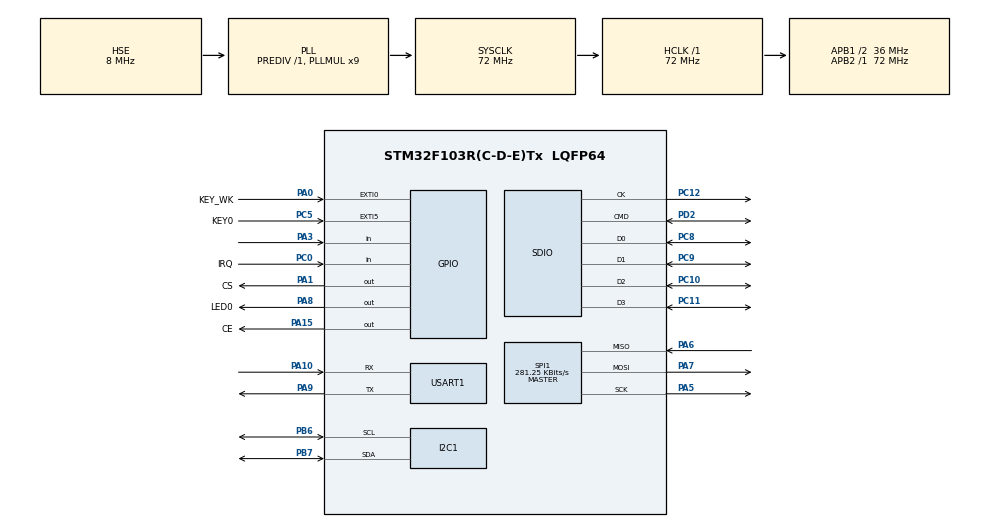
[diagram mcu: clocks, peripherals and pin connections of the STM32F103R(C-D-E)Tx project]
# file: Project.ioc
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Dma.Request0=USART1_RX
Dma.Request1=USART1_TX
Dma.Request2=SDIO
Dma.SDIO.2.Direction=DMA_PERIPH_TO_MEMORY
Dma.SDIO.2.Instance=DMA2_Channel4
Dma.SDIO.2.MemDataAlignment=DMA_MDATAALIGN_WORD
Dma.SDIO.2.MemInc=DMA_MINC_ENABLE
Dma.SDIO.2.Mode=DMA_NORMAL
Dma.SDIO.2.PeriphDataAlignment=DMA_PDATAALIGN_WORD
Dma.SDIO.2.PeriphInc=DMA_PINC_DISABLE
Dma.SDIO.2.Priority=DMA_PRIORITY_VERY_HIGH
Dma.USART1_RX.0.Direction=DMA_PERIPH_TO_MEMORY
Dma.USART1_RX.0.Instance=DMA1_Channel5
Dma.USART1_RX.0.MemDataAlignment=DMA_MDATAALIGN_BYTE
Dma.USART1_RX.0.MemInc=DMA_MINC_ENABLE
Dma.USART1_RX.0.Mode=DMA_NORMAL
Dma.USART1_RX.0.PeriphDataAlignment=DMA_PDATAALIGN_BYTE
Dma.USART1_RX.0.PeriphInc=DMA_PINC_DISABLE
Dma.USART1_RX.0.Priority=DMA_PRIORITY_LOW
Dma.USART1_TX.1.Direction=DMA_MEMORY_TO_PERIPH
Dma.USART1_TX.1.Instance=DMA1_Channel4
Dma.USART1_TX.1.MemDataAlignment=DMA_MDATAALIGN_BYTE
Dma.USART1_TX.1.MemInc=DMA_MINC_ENABLE
Dma.USART1_TX.1.Mode=DMA_NORMAL
Dma.USART1_TX.1.PeriphDataAlignment=DMA_PDATAALIGN_BYTE
Dma.USART1_TX.1.PeriphInc=DMA_PINC_DISABLE
Dma.USART1_TX.1.Priority=DMA_PRIORITY_LOW
FATFS.BSP.number=1
FATFS0.BSP.STBoard=false
FATFS0.BSP.api=Unknown
FATFS0.BSP.instance=PA3
FATFS0.BSP.ip=GPIO
FATFS0.BSP.mode=Input
FATFS0.BSP.name=Detect_SDIO
FATFS0.BSP.solution=PA3
Mcu.Family=STM32F1
Mcu.Name=STM32F103R(C-D-E)Tx
Mcu.Package=LQFP64
NVIC.DMA1_Channel4_IRQn=true\:0\:0\:false\:false\:true\:false\:true\:true
NVIC.DMA1_Channel5_IRQn=true\:0\:0\:false\:false\:true\:false\:true\:true
NVIC.DMA2_Channel4_5_IRQn=true\:0\:0\:false\:false\:true\:false\:true\:true
NVIC.EXTI0_IRQn=true\:1\:0\:true\:false\:true\:true\:true\:true
NVIC.EXTI9_5_IRQn=true\:1\:1\:true\:false\:true\:true\:true\:true
NVIC.I2C1_ER_IRQn=true\:0\:0\:false\:false\:true\:true\:true\:true
NVIC.I2C1_EV_IRQn=true\:0\:0\:false\:false\:true\:true\:true\:true
NVIC.PriorityGroup=NVIC_PRIORITYGROUP_2
NVIC.RTC_IRQn=true\:0\:0\:false\:false\:true\:true\:true\:true
NVIC.SDIO_IRQn=true\:0\:0\:false\:false\:true\:true\:true\:true
NVIC.TIM3_IRQn=true\:0\:0\:true\:false\:true\:true\:true\:true
NVIC.USART1_IRQn=true\:0\:0\:false\:false\:true\:true\:true\:true
PA0-WKUP.GPIO_Label=KEY_WK
PA0-WKUP.GPIO_PuPd=GPIO_PULLDOWN
PA0-WKUP.Signal=GPXTI0
PA1.GPIO_Label=CS
PA1.GPIO_Speed=GPIO_SPEED_FREQ_HIGH
PA1.PinState=GPIO_PIN_SET
PA1.Signal=GPIO_Output
PA10.Mode=Asynchronous
PA10.Signal=USART1_RX
PA13.Mode=Serial_Wire
PA13.Signal=SYS_JTMS-SWDIO
PA14.Mode=Serial_Wire
PA14.Signal=SYS_JTCK-SWCLK
PA15.GPIO_Label=CE
PA15.GPIO_Speed=GPIO_SPEED_FREQ_HIGH
PA15.PinState=GPIO_PIN_SET
PA15.Signal=GPIO_Output
PA3.Signal=GPIO_Input
PA5.Mode=Full_Duplex_Master
PA5.Signal=SPI1_SCK
PA6.Mode=Full_Duplex_Master
PA6.Signal=SPI1_MISO
PA7.Mode=Full_Duplex_Master
PA7.Signal=SPI1_MOSI
PA8.GPIO_Label=LED0
PA8.GPIO_ModeDefaultOutputPP=GPIO_MODE_OUTPUT_PP
PA8.GPIO_PuPd=GPIO_NOPULL
PA8.Signal=GPIO_Output
PA9.Mode=Asynchronous
PA9.Signal=USART1_TX
PB6.Mode=I2C
PB6.Signal=I2C1_SCL
PB7.Mode=I2C
PB7.Signal=I2C1_SDA
PC0.GPIO_Label=IRQ
PC0.GPIO_PuPd=GPIO_PULLUP
PC0.Signal=GPIO_Input
PC10.Mode=SD_4_bits_Wide_bus
PC10.Signal=SDIO_D2
PC11.Mode=SD_4_bits_Wide_bus
PC11.Signal=SDIO_D3
PC12.Mode=SD_4_bits_Wide_bus
PC12.Signal=SDIO_CK
PC14-OSC32_IN.Mode=LSE-External-Oscillator
PC14-OSC32_IN.Signal=RCC_OSC32_IN
PC15-OSC32_OUT.Mode=LSE-External-Oscillator
PC15-OSC32_OUT.Signal=RCC_OSC32_OUT
PC5.GPIO_Label=KEY0
PC5.GPIO_PuPd=GPIO_PULLUP
PC5.Signal=GPXTI5
PC8.Mode=SD_4_bits_Wide_bus
PC8.Signal=SDIO_D0
PC9.Mode=SD_4_bits_Wide_bus
PC9.Signal=SDIO_D1
PD0-OSC_IN.Mode=HSE-External-Oscillator
PD0-OSC_IN.Signal=RCC_OSC_IN
PD1-OSC_OUT.Mode=HSE-External-Oscillator
PD1-OSC_OUT.Signal=RCC_OSC_OUT
PD2.Mode=SD_4_bits_Wide_bus
PD2.Signal=SDIO_CMD
ProjectManager.HeapSize=0x400
ProjectManager.StackSize=0x3000
ProjectManager.TargetToolchain=STM32CubeIDE
RCC.AHBFreq_Value=72000000
RCC.APB1CLKDivider=RCC_HCLK_DIV2
RCC.APB1Freq_Value=36000000
RCC.APB1TimFreq_Value=72000000
RCC.APB2Freq_Value=72000000
RCC.APB2TimFreq_Value=72000000
RCC.HCLKFreq_Value=72000000
RCC.PLLMUL=RCC_PLL_MUL9
RCC.PLLSourceVirtual=RCC_PLLSOURCE_HSE
RCC.RTCClockSelection=RCC_RTCCLKSOURCE_LSE
RCC.SYSCLKFreq_VALUE=72000000
RCC.SYSCLKSource=RCC_SYSCLKSOURCE_PLLCLK
RCC.USBFreq_Value=72000000
RTC.Date=21
RTC.Hours=0
RTC.Minutes=0
RTC.Month=RTC_MONTH_DECEMBER
RTC.WeekDay=RTC_WEEKDAY_FRIDAY
SDIO.ClockDiv=36
SPI1.BaudRatePrescaler=SPI_BAUDRATEPRESCALER_256
SPI1.CLKPhase=SPI_PHASE_2EDGE
SPI1.CLKPolarity=SPI_POLARITY_HIGH
SPI1.CRCCalculation=SPI_CRCCALCULATION_DISABLE
SPI1.CalculateBaudRate=281.25 KBits/s
SPI1.Direction=SPI_DIRECTION_2LINES
SPI1.Mode=SPI_MODE_MASTER
SPI1.VirtualType=VM_MASTER
TIM3.Period=9
TIM3.Prescaler=7199
USART1.VirtualMode=VM_ASYNC
VP_FATFS_VS_SDIO.Mode=SDIO
VP_RTC_No_RTC_Output.Mode=RTC_OUT_NO
VP_RTC_VS_RTC_Activate.Mode=RTC_Enabled
VP_RTC_VS_RTC_Calendar.Mode=RTC_Calendar
VP_TIM3_VS_ClockSourceINT.Mode=Internal
board=custom

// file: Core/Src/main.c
/* USER CODE BEGIN Header */
/**
 ******************************************************************************
 * @file           : main.cpp
 * @brief          : Main program body
 ******************************************************************************
 * @attention
 *
 * Copyright (c) 2023 STMicroelectronics.
 * All rights reserved.
 *
 * This software is licensed under terms that can be found in the LICENSE file
 * in the root directory of this software component.
 * If no LICENSE file comes with this software, it is provided AS-IS.
 *
 ******************************************************************************
 */
/* USER CODE END Header */
#include "main.h"
#include "fatfs.h"

/* USER CODE BEGIN Includes */
#include <stdint.h>

#include <cstdint>
#include <cstdio>
#include <string>
#include <utility>

#include "24l01.h"
#include "framework.h"
#include "led.h"
#include "mmc_sd.h"
#include "piclib.h"
#include "scene.h"

/* USER CODE END Includes */

/* USER CODE BEGIN PD */
#define MAIN 1
#define CALC 2
#define CHAT_SELECT 3
#define CHAT_SCENE 4
#define PHOTO 5
/* USER CODE END PD */

I2C_HandleTypeDef hi2c1;

RTC_HandleTypeDef hrtc;

SD_HandleTypeDef hsd;
DMA_HandleTypeDef hdma_sdio;

SPI_HandleTypeDef hspi1;

TIM_HandleTypeDef htim3;

UART_HandleTypeDef huart1;
DMA_HandleTypeDef hdma_usart1_rx;
DMA_HandleTypeDef hdma_usart1_tx;

void SystemClock_Config(void);
static void MX_GPIO_Init(void);
static void MX_DMA_Init(void);
static void MX_USART1_UART_Init(void);
static void MX_I2C1_Init(void);
static void MX_TIM3_Init(void);
static void MX_SDIO_SD_Init(void);
static void MX_SPI1_Init(void);
static void MX_RTC_Init(void);

/* USER CODE BEGIN 0 */
string RX_DATA;
char uLength = 0;
extern unsigned char rxBuffer[1024];
extern bool rx_flag;
pii touch;
bool button_click[8];
// LED leddev = LED();  // led_dev
char *tmp = new char[1];
vtext *choosed;
uint8_t EVENT[10];
bool fly = false;
string users[3];
chat_scene_storage* chat_sc_store[3];
int selected_chat;
int SCENE = MAIN;
/* USER CODE END 0 */

int main(void)
{

  /* MCU Configuration--------------------------------------------------------*/

  /* Reset of all peripherals, Initializes the Flash interface and the Systick. */
  HAL_Init();

  /* USER CODE BEGIN Init */
    NRF24L01_Init();
  /* USER CODE END Init */

  /* Configure the system clock */
  SystemClock_Config();

  /* USER CODE BEGIN SysInit */
    delay_ms(100);
    // MX_I2C1_Init();

  /* USER CODE END SysInit */

  /* Initialize all configured peripherals */
  MX_GPIO_Init();
  MX_DMA_Init();
  MX_USART1_UART_Init();
  MX_I2C1_Init();
  MX_TIM3_Init();
  MX_SDIO_SD_Init();
  MX_FATFS_Init();
  MX_SPI1_Init();
  MX_RTC_Init();
  /* USER CODE BEGIN 2 */
    //   printf("LCD shape %u %u", lcddev.height, lcddev.width);
    // leddev.Init();
    LCD_Init();
    LCD_Clear(WHITE);
    HAL_TIM_Base_Start_IT(&htim3);

    tp_dev.init();
    // leddev.append(BLINK_BOTH);
    // leddev.append(BLINK_BOTH);

  /* USER CODE END 2 */

  /* Infinite loop */
  /* USER CODE BEGIN WHILE */
    dpo canvas = dpo("canvas", {lcddev.width / 2, lcddev.height / 2},
                     {lcddev.width, lcddev.height});
    printf("here");

    printf("Done Creating\n");
    bar *bottom_bar = new bar("bar1", {0, 140}, {lcddev.width, 40});
    dpo *window_view = new dpo("window_view", {0, -20}, {lcddev.width, 280});

    calc_main *cal_sc = nullptr;
    chat_select_main *chat_sel_sc = nullptr;
   // emoji_scene_main *emoji_sc = nullptr;
    chat_scene_main *chat_sc = nullptr;
    main_scene *main_sc = nullptr;

    canvas.add_son(bottom_bar);
    canvas.add_son(window_view);
    // window_view.add_son(&cal_sc);
    // cal_sc.setVisbility(false);
    printf("Start\n");
    // window_view.add_son(&emoji_sc);
    // emoji_sc.setVisbility(false);
    // window_view.add_son(&chat_sc);
    // chat_sc.setVisbility(true);

    HAL_UART_Receive_IT(&huart1, (uint8_t *)rxBuffer, 1);
    u32 total, free;

    mem_init();
    while (SD_Init())  // �?测不到SD�?
    {
        LCD_ShowString(30, 150, 200, 16, 16, (uint8_t *)"SD Card Error!");
        delay_ms(5000);
        LCD_ShowString(30, 150, 200, 16, 16, (uint8_t *)"Please Check! ");
        delay_ms(5000);
    }
    piclib_init();
    exfuns_init();

    f_mount(fs[0], "0:", 1);  // 挂载SD�?
    f_mount(fs[1], "1:", 1);  // 挂载FLASH.
    SCENE = MAIN;
    while (1) {
        // LCD_ShowString(2, 2, 160, 16, 16, (uint8_t *)"Mem");
        tp_dev.scan(0);
        touch = {(int)tp_dev.x[0], (int)tp_dev.y[0]};
        fly = equal_pii(touch, {65535, 65535});
        canvas.update(nullptr, {0, 0});
        POINT_COLOR = BLUE;  // 设置字体为蓝�?
        // LCD_ShowString(30, 150, 200, 16, 16, (uint8_t *)"FATFS OK!");
        // LCD_ShowString(30, 170, 200, 16, 16,
        //                (uint8_t *)"SD Total Size:     MB");
        // LCD_ShowString(30, 190, 200, 16, 16,
        //                (uint8_t *)"SD  Free Size:     MB");

        // exf_getfree((uint8_t *)"0:", &total, &free);
        // LCD_ShowNum(30 + 8 * 14, 170, total >> 10, 5, 16);  // 显示SD卡�?�容�? MB
        // LCD_ShowNum(30 + 8 * 14, 190, free >> 10, 5,
        //             16);  // 显示SD卡剩余容�? MB

        if (!fly)
            HAL_GPIO_WritePin(LED0_GPIO_Port, LED0_Pin, GPIO_PIN_SET);
        else
            HAL_GPIO_WritePin(LED0_GPIO_Port, LED0_Pin, GPIO_PIN_RESET);
        if (EVENT[RETURN_BACK]) {
            printf("[EVENT] Press Back\n");
            if(chat_sc != nullptr)
                SCENE = CHAT_SELECT;
            else SCENE = MAIN;
            EVENT[RETURN_BACK] = 0;
        }
        if (EVENT[RETURN_HOME]) {
            printf("[EVENT] Press Home\n");
            SCENE = MAIN;
            EVENT[RETURN_HOME] = 0;
        }
        if (EVENT[CHAT_SELECTED]){
            printf("[EVENT] Chat Select\n");
            SCENE = CHAT_SELECT;
            EVENT[CHAT_SELECTED] = 0;
        }
        if (EVENT[CALC_SELECTED]){
            printf("[EVENT] Calc Select\n");
            SCENE = CALC;
            EVENT[CALC_SELECTED] = 0;
        }
        if (EVENT[PHOTO_SELECTED]){
            printf("[EVENT] Photo Select\n");
            SCENE = PHOTO;
            EVENT[PHOTO_SELECTED] = 0;
        }

        if(EVENT[CREAT_CHAT])
        {
            printf("[EVENT] Create Chat\n");
            SCENE = CHAT_SCENE;
            EVENT[CREAT_CHAT] = 0;
        }
        if (SCENE == MAIN)
        {
            LCD_Clear(WHITE);
            canvas.need_render = true;
            if (chat_sc != nullptr)
            {
                chat_sc_store[selected_chat] = new chat_scene_storage(
                chat_sc->page_cnt,
                chat_sc->now_page,
                chat_sc->pageMessage,
                chat_sc->pageEmoji,
                chat_sc->showPage.cnt);
                delete (chat_sc), chat_sc = nullptr;
            }
            if (chat_sel_sc != nullptr) delete (chat_sel_sc), chat_sel_sc = nullptr;
            if (cal_sc!=nullptr) delete (cal_sc), cal_sc = nullptr;
            if (main_sc == nullptr)
            {
                printf("MAIN\n");
                main_sc = new main_scene("main_scene", {0, 0}, {lcddev.width, 280});
                window_view->sub_object_cnt = 0;
                memset(window_view->sub_object, 0, sizeof(window_view->sub_object));
                window_view->add_son(main_sc);
                main_sc->setVisbility(true);
            }
            SCENE = 0;
        }
        if (SCENE == CALC) {
            LCD_Clear(WHITE);
            canvas.need_render = true;
            if(main_sc != nullptr) delete (main_sc), main_sc = nullptr;
            if (chat_sc != nullptr)
            {
                chat_sc_store[selected_chat] = new chat_scene_storage(
                chat_sc->page_cnt,
                chat_sc->now_page,
                chat_sc->pageMessage,
                chat_sc->pageEmoji,
                chat_sc->showPage.cnt);
                delete (chat_sc), chat_sc = nullptr;
            }
            if (chat_sel_sc != nullptr) delete (chat_sel_sc), chat_sel_sc = nullptr;
            if (cal_sc == nullptr)
            {
                cal_sc =
                    new calc_main("calc_main", {0, 0}, {lcddev.width, 280});
                window_view->sub_object_cnt = 0;
                memset(window_view->sub_object, 0, sizeof(window_view->sub_object));
                window_view->add_son(cal_sc);
                cal_sc->setVisbility(true);
            }

            SCENE = 0;
        }

        if (SCENE == CHAT_SELECT) {
            LCD_Clear(WHITE);
            canvas.need_render = true;
            if(main_sc != nullptr) delete (main_sc), main_sc = nullptr;
            if (chat_sc!=nullptr)
            {
                chat_sc_store[selected_chat] = new chat_scene_storage(
                    chat_sc->page_cnt,
                    chat_sc->now_page,
                    chat_sc->pageMessage,
                    chat_sc->pageEmoji,
                    chat_sc->showPage.cnt);
                delete (chat_sc), chat_sc = nullptr;
            }
            if (cal_sc!=nullptr) delete (cal_sc), cal_sc = nullptr;
            if (chat_sel_sc==nullptr)
            {
                chat_sel_sc = new chat_select_main(
                    "chat_select_main",
                    {0, 0},
                    {lcddev.width,280});
                window_view->sub_object_cnt = 0;
                memset(window_view->sub_object, 0, sizeof(window_view->sub_object));
                window_view->add_son(chat_sel_sc);
                chat_sel_sc->setVisbility(true);
            }
            SCENE = 0;
        }

        if (SCENE == CHAT_SCENE) {
            LCD_Clear(WHITE);
            canvas.need_render = true;
            if(main_sc != nullptr) delete (main_sc), main_sc = nullptr;
            if (chat_sel_sc != nullptr) delete (chat_sel_sc), chat_sel_sc = nullptr;
            if (cal_sc != nullptr) delete (cal_sc), cal_sc = nullptr;
            if (chat_sc == nullptr)
            {
                if(chat_sc_store[selected_chat] == nullptr)
                {
                    chat_sc = new chat_scene_main(
                        "chat_scene_main",
                        {0, 0},
                        {lcddev.width, 280},
                        users);
                }
                else
                {
                    chat_sc = new chat_scene_main(
                        "chat_scene_main",
                        {0, 0},
                        {lcddev.width, 280},
                        users,
                        chat_sc_store[selected_chat]
                    );
                }
                window_view->sub_object_cnt = 0;
                memset(window_view->sub_object, 0, sizeof(window_view->sub_object));
                window_view->add_son(chat_sc);
                printf("Done creating\n");
                chat_sc->setVisbility(true);
            }

            SCENE = 0;
        }
        if (rx_flag && chat_sc != nullptr) {
            chat_sc->addMessageToPage(RX_DATA, 0);
            RX_DATA = "";
            rx_flag = 0;
        }
        else if(rx_flag){
            RX_DATA = "";
            rx_flag = 0;
        }

    /* USER CODE END WHILE */

    }
}

void SystemClock_Config(void)
{
  RCC_OscInitTypeDef RCC_OscInitStruct = {0};
  RCC_ClkInitTypeDef RCC_ClkInitStruct = {0};
  RCC_PeriphCLKInitTypeDef PeriphClkInit = {0};

  /** Initializes the RCC Oscillators according to the specified parameters
  * in the RCC_OscInitTypeDef structure.
  */
  RCC_OscInitStruct.OscillatorType = RCC_OSCILLATORTYPE_HSE|RCC_OSCILLATORTYPE_LSE;
  RCC_OscInitStruct.HSEState = RCC_HSE_ON;
  RCC_OscInitStruct.HSEPredivValue = RCC_HSE_PREDIV_DIV1;
  RCC_OscInitStruct.LSEState = RCC_LSE_ON;
  RCC_OscInitStruct.HSIState = RCC_HSI_ON;
  RCC_OscInitStruct.PLL.PLLState = RCC_PLL_ON;
  RCC_OscInitStruct.PLL.PLLSource = RCC_PLLSOURCE_HSE;
  RCC_OscInitStruct.PLL.PLLMUL = RCC_PLL_MUL9;
  if (HAL_RCC_OscConfig(&RCC_OscInitStruct) != HAL_OK)
  {
    Error_Handler();
  }

  /** Initializes the CPU, AHB and APB buses clocks
  */
  RCC_ClkInitStruct.ClockType = RCC_CLOCKTYPE_HCLK|RCC_CLOCKTYPE_SYSCLK
                              |RCC_CLOCKTYPE_PCLK1|RCC_CLOCKTYPE_PCLK2;
  RCC_ClkInitStruct.SYSCLKSource = RCC_SYSCLKSOURCE_PLLCLK;
  RCC_ClkInitStruct.AHBCLKDivider = RCC_SYSCLK_DIV1;
  RCC_ClkInitStruct.APB1CLKDivider = RCC_HCLK_DIV2;
  RCC_ClkInitStruct.APB2CLKDivider = RCC_HCLK_DIV1;

  if (HAL_RCC_ClockConfig(&RCC_ClkInitStruct, FLASH_LATENCY_2) != HAL_OK)
  {
    Error_Handler();
  }
  PeriphClkInit.PeriphClockSelection = RCC_PERIPHCLK_RTC;
  PeriphClkInit.RTCClockSelection = RCC_RTCCLKSOURCE_LSE;
  if (HAL_RCCEx_PeriphCLKConfig(&PeriphClkInit) != HAL_OK)
  {
    Error_Handler();
  }
}

static void MX_I2C1_Init(void)
{

  hi2c1.Instance = I2C1;
  hi2c1.Init.ClockSpeed = 100000;
  hi2c1.Init.DutyCycle = I2C_DUTYCYCLE_2;
  hi2c1.Init.OwnAddress1 = 0;
  hi2c1.Init.AddressingMode = I2C_ADDRESSINGMODE_7BIT;
  hi2c1.Init.DualAddressMode = I2C_DUALADDRESS_DISABLE;
  hi2c1.Init.OwnAddress2 = 0;
  hi2c1.Init.GeneralCallMode = I2C_GENERALCALL_DISABLE;
  hi2c1.Init.NoStretchMode = I2C_NOSTRETCH_DISABLE;
  if (HAL_I2C_Init(&hi2c1) != HAL_OK)
  {
    Error_Handler();
  }

}

static void MX_RTC_Init(void)
{

  RTC_TimeTypeDef sTime = {0};
  RTC_DateTypeDef DateToUpdate = {0};

  /** Initialize RTC Only
  */
  hrtc.Instance = RTC;
  hrtc.Init.AsynchPrediv = RTC_AUTO_1_SECOND;
  hrtc.Init.OutPut = RTC_OUTPUTSOURCE_NONE;
  if (HAL_RTC_Init(&hrtc) != HAL_OK)
  {
    Error_Handler();
  }

  /** Initialize RTC and set the Time and Date
  */
  sTime.Hours = 0x0;
  sTime.Minutes = 0x0;
  sTime.Seconds = 0x0;

  if (HAL_RTC_SetTime(&hrtc, &sTime, RTC_FORMAT_BCD) != HAL_OK)
  {
    Error_Handler();
  }
  DateToUpdate.WeekDay = RTC_WEEKDAY_FRIDAY;
  DateToUpdate.Month = RTC_MONTH_DECEMBER;
  DateToUpdate.Date = 0x21;
  DateToUpdate.Year = 0x0;

  if (HAL_RTC_SetDate(&hrtc, &DateToUpdate, RTC_FORMAT_BCD) != HAL_OK)
  {
    Error_Handler();
  }

}

static void MX_SDIO_SD_Init(void)
{

  hsd.Instance = SDIO;
  hsd.Init.ClockEdge = SDIO_CLOCK_EDGE_RISING;
  hsd.Init.ClockBypass = SDIO_CLOCK_BYPASS_DISABLE;
  hsd.Init.ClockPowerSave = SDIO_CLOCK_POWER_SAVE_DISABLE;
  hsd.Init.BusWide = SDIO_BUS_WIDE_4B;
  hsd.Init.HardwareFlowControl = SDIO_HARDWARE_FLOW_CONTROL_DISABLE;
  hsd.Init.ClockDiv = 36;

}

static void MX_SPI1_Init(void)
{

  /* SPI1 parameter configuration*/
  hspi1.Instance = SPI1;
  hspi1.Init.Mode = SPI_MODE_MASTER;
  hspi1.Init.Direction = SPI_DIRECTION_2LINES;
  hspi1.Init.DataSize = SPI_DATASIZE_8BIT;
  hspi1.Init.CLKPolarity = SPI_POLARITY_HIGH;
  hspi1.Init.CLKPhase = SPI_PHASE_2EDGE;
  hspi1.Init.NSS = SPI_NSS_SOFT;
  hspi1.Init.BaudRatePrescaler = SPI_BAUDRATEPRESCALER_256;
  hspi1.Init.FirstBit = SPI_FIRSTBIT_MSB;
  hspi1.Init.TIMode = SPI_TIMODE_DISABLE;
  hspi1.Init.CRCCalculation = SPI_CRCCALCULATION_DISABLE;
  hspi1.Init.CRCPolynomial = 10;
  if (HAL_SPI_Init(&hspi1) != HAL_OK)
  {
    Error_Handler();
  }

}

static void MX_TIM3_Init(void)
{

  TIM_ClockConfigTypeDef sClockSourceConfig = {0};
  TIM_MasterConfigTypeDef sMasterConfig = {0};

  htim3.Instance = TIM3;
  htim3.Init.Prescaler = 7199;
  htim3.Init.CounterMode = TIM_COUNTERMODE_UP;
  htim3.Init.Period = 9;
  htim3.Init.ClockDivision = TIM_CLOCKDIVISION_DIV1;
  htim3.Init.AutoReloadPreload = TIM_AUTORELOAD_PRELOAD_DISABLE;
  if (HAL_TIM_Base_Init(&htim3) != HAL_OK)
  {
    Error_Handler();
  }
  sClockSourceConfig.ClockSource = TIM_CLOCKSOURCE_INTERNAL;
  if (HAL_TIM_ConfigClockSource(&htim3, &sClockSourceConfig) != HAL_OK)
  {
    Error_Handler();
  }
  sMasterConfig.MasterOutputTrigger = TIM_TRGO_RESET;
  sMasterConfig.MasterSlaveMode = TIM_MASTERSLAVEMODE_DISABLE;
  if (HAL_TIMEx_MasterConfigSynchronization(&htim3, &sMasterConfig) != HAL_OK)
  {
    Error_Handler();
  }

}

static void MX_USART1_UART_Init(void)
{

  huart1.Instance = USART1;
  huart1.Init.BaudRate = 115200;
  huart1.Init.WordLength = UART_WORDLENGTH_8B;
  huart1.Init.StopBits = UART_STOPBITS_1;
  huart1.Init.Parity = UART_PARITY_NONE;
  huart1.Init.Mode = UART_MODE_TX_RX;
  huart1.Init.HwFlowCtl = UART_HWCONTROL_NONE;
  huart1.Init.OverSampling = UART_OVERSAMPLING_16;
  if (HAL_UART_Init(&huart1) != HAL_OK)
  {
    Error_Handler();
  }

}

static void MX_DMA_Init(void)
{

  /* DMA controller clock enable */
  __HAL_RCC_DMA1_CLK_ENABLE();
  __HAL_RCC_DMA2_CLK_ENABLE();

  /* DMA interrupt init */
  /* DMA1_Channel4_IRQn interrupt configuration */
  HAL_NVIC_SetPriority(DMA1_Channel4_IRQn, 0, 0);
  HAL_NVIC_EnableIRQ(DMA1_Channel4_IRQn);
  /* DMA1_Channel5_IRQn interrupt configuration */
  HAL_NVIC_SetPriority(DMA1_Channel5_IRQn, 0, 0);
  HAL_NVIC_EnableIRQ(DMA1_Channel5_IRQn);
  /* DMA2_Channel4_5_IRQn interrupt configuration */
  HAL_NVIC_SetPriority(DMA2_Channel4_5_IRQn, 0, 0);
  HAL_NVIC_EnableIRQ(DMA2_Channel4_5_IRQn);

}

static void MX_GPIO_Init(void)
{
  GPIO_InitTypeDef GPIO_InitStruct = {0};

  /* GPIO Ports Clock Enable */
  __HAL_RCC_GPIOC_CLK_ENABLE();
  __HAL_RCC_GPIOD_CLK_ENABLE();
  __HAL_RCC_GPIOA_CLK_ENABLE();
  __HAL_RCC_GPIOB_CLK_ENABLE();

  /*Configure GPIO pin Output Level */
  HAL_GPIO_WritePin(GPIOA, CS_Pin|CE_Pin, GPIO_PIN_SET);

  /*Configure GPIO pin Output Level */
  HAL_GPIO_WritePin(LED0_GPIO_Port, LED0_Pin, GPIO_PIN_RESET);

  /*Configure GPIO pin : IRQ_Pin */
  GPIO_InitStruct.Pin = IRQ_Pin;
  GPIO_InitStruct.Mode = GPIO_MODE_INPUT;
  GPIO_InitStruct.Pull = GPIO_PULLUP;
  HAL_GPIO_Init(IRQ_GPIO_Port, &GPIO_InitStruct);

  /*Configure GPIO pin : KEY_WK_Pin */
  GPIO_InitStruct.Pin = KEY_WK_Pin;
  GPIO_InitStruct.Mode = GPIO_MODE_IT_RISING;
  GPIO_InitStruct.Pull = GPIO_PULLDOWN;
  HAL_GPIO_Init(KEY_WK_GPIO_Port, &GPIO_InitStruct);

  /*Configure GPIO pins : CS_Pin CE_Pin */
  GPIO_InitStruct.Pin = CS_Pin|CE_Pin;
  GPIO_InitStruct.Mode = GPIO_MODE_OUTPUT_PP;
  GPIO_InitStruct.Pull = GPIO_NOPULL;
  GPIO_InitStruct.Speed = GPIO_SPEED_FREQ_HIGH;
  HAL_GPIO_Init(GPIOA, &GPIO_InitStruct);

  /*Configure GPIO pin : PA3 */
  GPIO_InitStruct.Pin = GPIO_PIN_3;
  GPIO_InitStruct.Mode = GPIO_MODE_INPUT;
  GPIO_InitStruct.Pull = GPIO_NOPULL;
  HAL_GPIO_Init(GPIOA, &GPIO_InitStruct);

  /*Configure GPIO pin : KEY0_Pin */
  GPIO_InitStruct.Pin = KEY0_Pin;
  GPIO_InitStruct.Mode = GPIO_MODE_IT_RISING;
  GPIO_InitStruct.Pull = GPIO_PULLUP;
  HAL_GPIO_Init(KEY0_GPIO_Port, &GPIO_InitStruct);

  /*Configure GPIO pin : LED0_Pin */
  GPIO_InitStruct.Pin = LED0_Pin;
  GPIO_InitStruct.Mode = GPIO_MODE_OUTPUT_PP;
  GPIO_InitStruct.Pull = GPIO_NOPULL;
  GPIO_InitStruct.Speed = GPIO_SPEED_FREQ_LOW;
  HAL_GPIO_Init(LED0_GPIO_Port, &GPIO_InitStruct);

  /* EXTI interrupt init*/
  HAL_NVIC_SetPriority(EXTI0_IRQn, 1, 0);
  HAL_NVIC_EnableIRQ(EXTI0_IRQn);

  HAL_NVIC_SetPriority(EXTI9_5_IRQn, 1, 1);
  HAL_NVIC_EnableIRQ(EXTI9_5_IRQn);

}

/* USER CODE BEGIN 4 */

PUTCHAR_PROTOTYPE {
    HAL_UART_Transmit(&huart1, (uint8_t *)&ch, 1, HAL_MAX_DELAY);
    return ch;
}
/* USER CODE END 4 */

void Error_Handler(void)
{
  /* USER CODE BEGIN Error_Handler_Debug */
    /* User can add his own implementation to report the HAL error return state
     */
    __disable_irq();
    while (1) {
    }
  /* USER CODE END Error_Handler_Debug */
}

#ifdef  USE_FULL_ASSERT
/**
  * @brief  Reports the name of the source file and the source line number
  *         where the assert_param error has occurred.
  * @param  file: pointer to the source file name
  * @param  line: assert_param error line source number
  * @retval None
  */
void assert_failed(uint8_t *file, uint32_t line)
{
  /* USER CODE BEGIN 6 */
    /* User can add his own implementation to report the file name and line
       number, ex: printf("Wrong parameters value: file %s on line %d\r\n",
       file, line) */
  /* USER CODE END 6 */
}
#endif /* USE_FULL_ASSERT */
